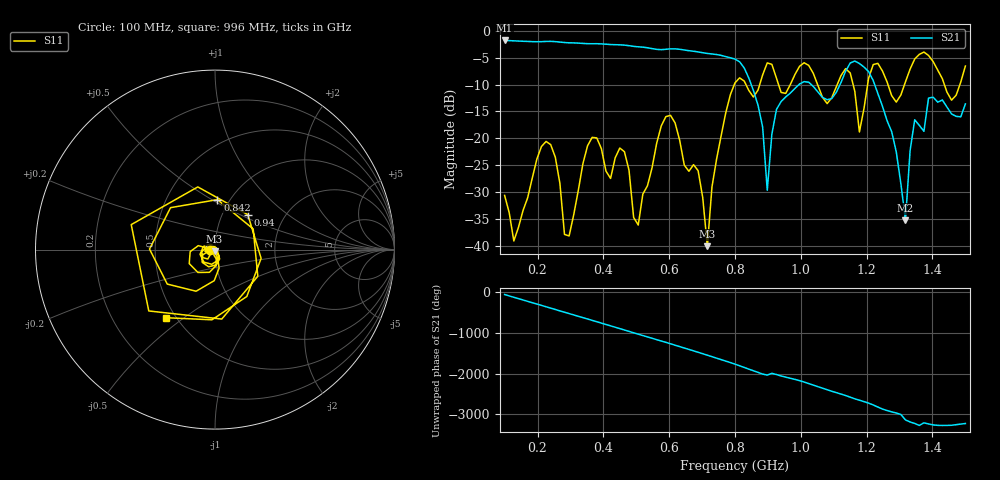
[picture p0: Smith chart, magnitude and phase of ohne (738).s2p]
! NanoVNA-App
! Date: 2025-09-25 14:26:32
! Start: 100MHz Stop: 1,5GHz Points: 101
! S-Parameter data: F S11 S21 S12 S22
# Hz S RI R 50
!  Frequency  S11_Real  S11_Imag  S21_Real  S21_Imag  S12_Real  S12_Imag  S22_Real  S22_Imag
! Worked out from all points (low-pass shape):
!   101 points, 100 MHz to 1.5 GHz, reference 50 ohm
!   highest |S21| = -1.79 dB at 100 MHz (marker M1); lowest = -35.2 dB at 1.318 GHz (marker M2)
!   |S21| within 3 dB of the highest: start of sweep to 771.1 MHz
!   lowest |S11| = -40.1 dB at 716 MHz (marker M3), VSWR 1.02, Z = 49.8 - j0.958 ohm
!   |S11| at or under -10 dB: start of sweep to 798 MHz; 833.2 MHz to 875.1 MHz (41.91 MHz wide, 4.91 % of centre); 1.051 GHz to 1.111 GHz (59.83 MHz wide, 5.54 % of centre) (the widest 3 of 7)
!   S12 and S22 are empty: the file has one direction only
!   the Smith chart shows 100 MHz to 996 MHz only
!   S11 on the Smith chart (normalised r, x): 100 MHz: 0.94, -0.01; 842 MHz: 0.88, +0.53; 940 MHz: 1.32, +0.55; 996 MHz: 0.44, -0.43
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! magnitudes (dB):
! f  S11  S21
! 100 MHz  -30.6  -1.8
! 128 MHz  -39.1  -1.9
! 226 MHz  -20.6  -2.0
! 296 MHz  -38.2  -2.2
! 338 MHz  -24.7  -2.3
! 464 MHz  -22.5  -2.7
! 506 MHz  -36.2  -3.0
! 576 MHz  -17.7  -3.5
! 688 MHz  -26.0  -3.9
! 716 MHz  -40.1  -4.2
! 800 MHz  -9.7  -5.3
! 842 MHz  -11.1  -8.8
! 898 MHz  -6.0  -29.7
! 940 MHz  -11.5  -13.2
! 996 MHz  -6.6  -9.9
! 1.038 GHz  -7.9  -10.4
! 1.178 GHz  -18.8  -6.1
! 1.22 GHz  -6.3  -9.3
! 1.276 GHz  -12.1  -18.8
! 1.318 GHz  -9.5  -35.2
! 1.346 GHz  -5.2  -16.6
! 1.5 GHz  -6.6  -13.6
